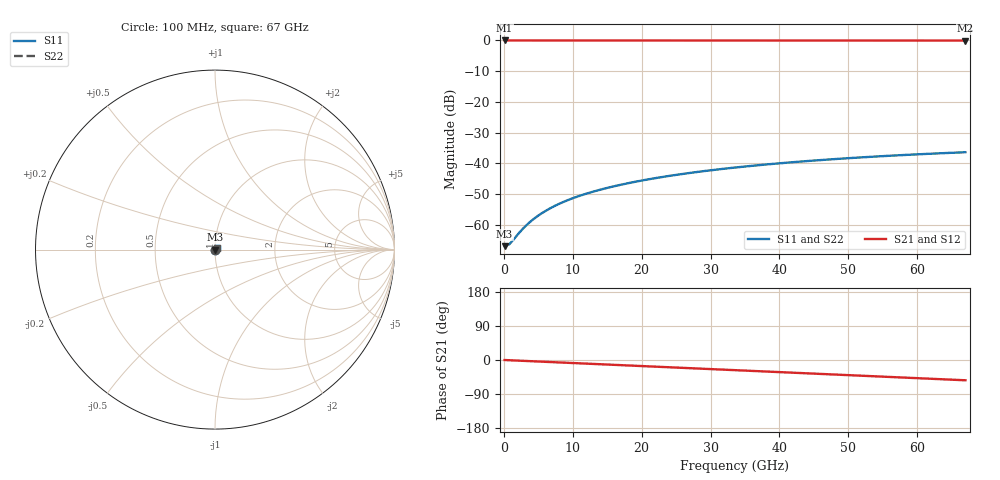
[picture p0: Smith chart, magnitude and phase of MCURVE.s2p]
! Touchstone Ver. 1.0
! Number of ports is 2
# Hz  S RI  R  50
! SCATTERING PARAMETERS  :
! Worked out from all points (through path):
!   101 points, 100 MHz to 67 GHz, reference 50 ohm
!   highest |S21| = 0.00 dB at 100 MHz (marker M1); lowest = 0.0 dB at 67 GHz (marker M2)
!   group delay of S21, straight-line fit = 2.22 ps
!   lowest |S11| = -67.0 dB at 100 MHz (marker M3), VSWR 1.00, Z = 50 + j0.00257 ohm
!   |S11| at or under -10 dB: start of sweep to end of sweep
!   |S22| runs from -67.0 to -36.4 dB; largest |S21 - S12| = 0
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1e8  0.000446 2.56e-05  0.9995 -0.00139  0.9995 -0.00139  0.000446 2.56e-05
7.69e8  0.000436 0.000197  0.9995 -0.0107  0.9995 -0.0107  0.000436 0.000197
1.438e9  0.000446 0.000369  0.9993 -0.02  0.9993 -0.02  0.000446 0.000369
2.776e9  0.000493 0.00071  0.9987 -0.0387  0.9987 -0.0387  0.000493 0.00071
3.445e9  0.000522 0.00088  0.9982 -0.048  0.9982 -0.048  0.000522 0.00088
4.114e9  0.000554 0.00105  0.9977 -0.0573  0.9977 -0.0573  0.000554 0.00105
5.452e9  0.000632 0.00139  0.9964 -0.0759  0.9964 -0.0759  0.000632 0.00139
6.79e9  0.000731 0.00172  0.9947 -0.0944  0.9947 -0.0944  0.000731 0.00172
8.128e9  0.000844 0.00205  0.9927 -0.113  0.9927 -0.113  0.000844 0.00205
9.466e9  0.000968 0.00237  0.9903 -0.1315  0.9903 -0.1315  0.000968 0.00237
1.1473e10  0.00114 0.00285  0.9861 -0.1591  0.9861 -0.1591  0.00114 0.00285
1.4149e10  0.0014 0.00348  0.9794 -0.1957  0.9794 -0.1957  0.0014 0.00348
1.6825e10  0.00171 0.00409  0.9713 -0.2321  0.9713 -0.2321  0.00171 0.00409
1.9501e10  0.00206 0.00467  0.9618 -0.2681  0.9618 -0.2681  0.00206 0.00467
2.2846e10  0.00255 0.00536  0.9481 -0.3126  0.9481 -0.3126  0.00255 0.00536
2.8198e10  0.00348 0.00636  0.9219 -0.3823  0.9219 -0.3823  0.00348 0.00636
3.355e10  0.00454 0.00721  0.8906 -0.4499  0.8906 -0.4499  0.00454 0.00721
3.8902e10  0.00572 0.00788  0.8544 -0.5149  0.8544 -0.5149  0.00572 0.00788
4.4923e10  0.00715 0.00843  0.808 -0.5846  0.808 -0.5846  0.00715 0.00843
5.0275e10  0.00848 0.0087  0.762 -0.643  0.762 -0.643  0.00848 0.0087
5.6296e10  0.01 0.00877  0.7052 -0.7044  0.7052 -0.7044  0.01 0.00877
6.7e10  0.0127 0.00825  0.5923 -0.801  0.5923 -0.801  0.0127 0.00825
